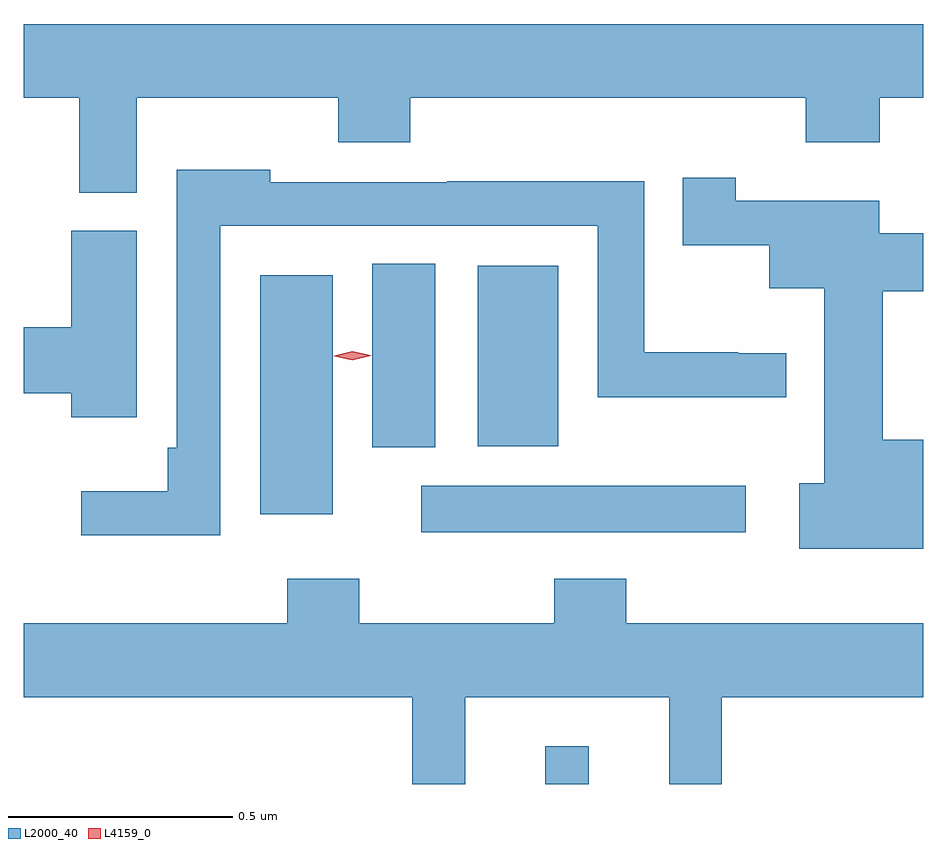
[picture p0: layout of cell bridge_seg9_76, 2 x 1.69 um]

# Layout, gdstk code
import gdstk
lib = gdstk.Library(unit=1e-6, precision=1e-09)
def R(c, l, rs):  # rectangles x0, y0, x1, y1
    for r in rs: c.add(gdstk.rectangle(r[:2], r[2:], *l))
def P(c, l, *ps):  # polygons
    for p in ps: c.add(gdstk.Polygon(p, *l))
L2000_40 = (2000, 40)
L4159_0 = (4159, 0)

bridge_seg9_76 = lib.new_cell('bridge_seg9_76')
R(bridge_seg9_76, L2000_40, [(1022.654,1213.543,1022.751,1213.627), (1022.379,1214.102,1023.1,1214.206), (1022.021,1214.142,1022.182,1214.674), (1022.27,1214.291,1022.41,1214.699), (1022.504,1214.294,1022.683,1214.695)])
P(bridge_seg9_76, L2000_40, [(1021.747,1215.068),(1022.194,1215.068),(1022.194,1214.969),(1022.354,1214.969),(1022.354,1215.068),(1023.233,1215.068),(1023.233,1214.969),(1023.398,1214.969),(1023.398,1215.068),(1023.495,1215.068),(1023.495,1215.232),(1021.495,1215.232),(1021.495,1215.068),(1021.619,1215.068),(1021.619,1214.857),(1021.747,1214.857)],
  [(1021.932,1214.784),(1022.771,1214.784),(1022.771,1214.402),(1023.19,1214.402),(1023.19,1214.5),(1023.083,1214.5),(1023.083,1214.502),(1022.875,1214.502),(1022.875,1214.882),(1022.437,1214.882),(1022.437,1214.88),(1022.043,1214.88),(1022.043,1214.908),(1021.836,1214.908),(1021.836,1214.29),(1021.816,1214.29),(1021.816,1214.194),(1021.623,1214.194),(1021.623,1214.096),(1021.932,1214.096)],
  [(1023.495,1214.308),(1023.405,1214.308),(1023.405,1214.638),(1023.495,1214.638),(1023.495,1214.767),(1023.397,1214.767),(1023.397,1214.839),(1023.078,1214.839),(1023.078,1214.89),(1022.96,1214.89),(1022.96,1214.74),(1023.152,1214.74),(1023.152,1214.645),(1023.275,1214.645),(1023.275,1214.211),(1023.219,1214.211),(1023.219,1214.066),(1023.495,1214.066)],
  [(1021.747,1214.772),(1021.601,1214.772),(1021.601,1214.558),(1021.495,1214.558),(1021.495,1214.411),(1021.601,1214.411),(1021.601,1214.358),(1021.747,1214.358)],
  [(1022.477,1213.736),(1022.93,1213.736),(1022.93,1213.543),(1023.047,1213.543),(1023.047,1213.736),(1023.495,1213.736),(1023.495,1213.9),(1022.834,1213.9),(1022.834,1213.999),(1022.674,1213.999),(1022.674,1213.9),(1022.241,1213.9),(1022.241,1213.999),(1022.081,1213.999),(1022.081,1213.9),(1021.495,1213.9),(1021.495,1213.736),(1022.359,1213.736),(1022.359,1213.543),(1022.477,1213.543)])
P(bridge_seg9_76, L4159_0, [(1022.226,1214.485),(1022.185,1214.494),(1022.185,1214.495),(1022.185,1214.495),(1022.226,1214.505),(1022.267,1214.496),(1022.267,1214.495),(1022.267,1214.495)])

lib.write_gds('bridge_seg9_76.gds')
